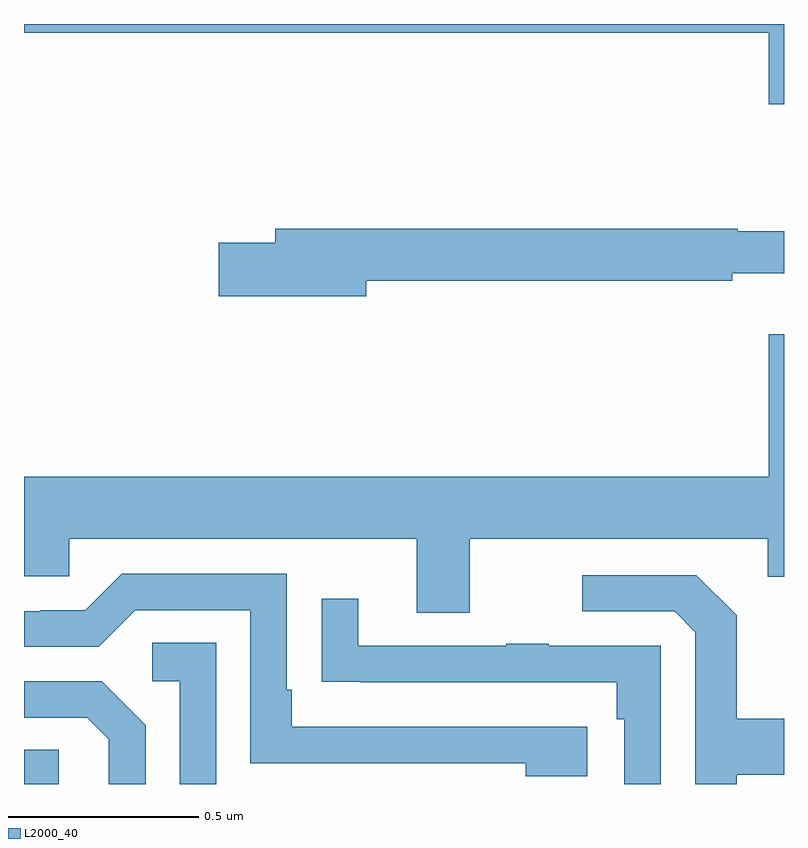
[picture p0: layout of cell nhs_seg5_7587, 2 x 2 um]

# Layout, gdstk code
import gdstk
lib = gdstk.Library(unit=1e-6, precision=1e-09)
def R(c, l, rs):  # rectangles x0, y0, x1, y1
    for r in rs: c.add(gdstk.rectangle(r[:2], r[2:], *l))
def P(c, l, *ps):  # polygons
    for p in ps: c.add(gdstk.Polygon(p, *l))
L2000_40 = (2000, 40)

nhs_seg5_7587 = lib.new_cell('nhs_seg5_7587')
R(nhs_seg5_7587, L2000_40, [(211,838.799,211.092,838.889)])
P(nhs_seg5_7587, L2000_40, [(213,840.799),(211,840.799),(211,840.776),(212.96,840.776),(212.96,840.588),(213,840.588)],
  [(211.9,840.124),(212.864,840.124),(212.864,840.143),(213,840.143),(213,840.253),(212.878,840.253),(212.878,840.26),(211.661,840.26),(211.661,840.224),(211.512,840.224),(211.512,840.082),(211.9,840.082)],
  [(212.173,839.444),(212.957,839.444),(212.957,839.345),(213,839.345),(213,839.983),(212.96,839.983),(212.96,839.608),(211,839.608),(211,839.346),(211.119,839.346),(211.119,839.444),(212.033,839.444),(212.033,839.25),(212.173,839.25)],
  [(212.482,838.95),(211.705,838.95),(211.705,839.047),(211.692,839.047),(211.692,839.352),(211.257,839.352),(211.161,839.256),(211.043,839.256),(211.043,839.253),(211,839.253),(211,839.16),(211.197,839.16),(211.293,839.256),(211.596,839.256),(211.596,838.854),(212.321,838.854),(212.321,838.82),(212.482,838.82)],
  [(212.875,838.823),(213,838.823),(213,838.971),(212.875,838.971),(212.875,839.243),(212.769,839.349),(212.469,839.349),(212.469,839.253),(212.712,839.253),(212.766,839.199),(212.766,838.799),(212.875,838.799)],
  [(212.676,839.163),(212.381,839.163),(212.381,839.168),(212.269,839.168),(212.269,839.163),(211.879,839.163),(211.879,839.287),(211.783,839.287),(211.783,839.068),(211.885,839.068),(211.885,839.067),(212.56,839.067),(212.56,838.97),(212.58,838.97),(212.58,838.799),(212.676,838.799)],
  [(211.506,839.171),(211.338,839.171),(211.338,839.07),(211.41,839.07),(211.41,838.799),(211.506,838.799)],
  [(211.32,838.954),(211.204,839.07),(211,839.07),(211,838.974),(211.166,838.974),(211.223,838.917),(211.223,838.799),(211.32,838.799)])

lib.write_gds('nhs_seg5_7587.gds')
